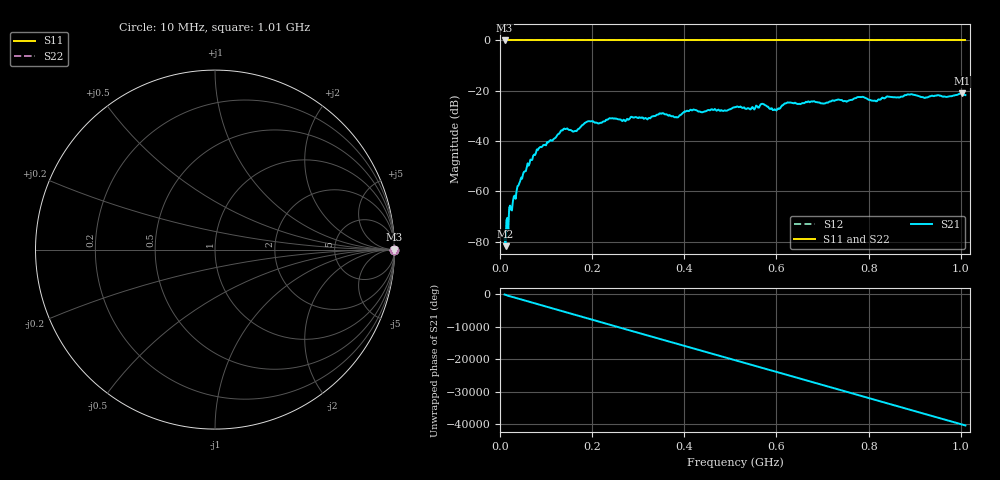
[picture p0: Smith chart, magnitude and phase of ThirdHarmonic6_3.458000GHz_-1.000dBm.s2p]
! 8/17/2025 11:11:26 AM
! C:\ANRITSUVNA\TEMP\TEMP.S2P
! CHANNEL.1
! TR.MEASUREMENT
! RAW.DATA
! RF.CORRECTION.OFF
! AVERAGING.OFF
! IF.BANDWIDTH: 5KHZ
! SWEEPTYPE:  FREQ.SWEEP(Linear)
! Reference Plane Port Info
! PORT:  PORT1  PORT2
! DISTANCE:  0  m  0  m
! TIME:  0  s  0  s
! PHASE.OFFSET:  0  deg.  0  deg.
! LOSS:  0  dB  0  dB
! REF.LOSS:  0  dB  0  dB
! REF.FREQ:  0  Hz  0  Hz
! Power Info
! POWER:  -20  dBm  -20  dBm
! EFF.POWER:  -20  dBm  -20  dBm
! SOURCE.ATTEN:  0  dB  0  dB
! TEST.ATTEN:  0  dB  0  dB
# GHZ S RI R 50.0
! FREQ.GHZ  S11RE  S11IM  S21RE  S21IM  S12RE  S12IM  S22RE  S22IM
!; PortSelection: Port_12
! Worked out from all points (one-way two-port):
!   501 points, 10 MHz to 1.01 GHz, reference 50 ohm
!   highest |S21| = -21.03 dB at 1.002 GHz (marker M1); lowest = -81.8 dB at 12 MHz (marker M2)
!   lowest |S11| = 0.0 dB at 10 MHz (marker M3)
!   |S11| at or under -10 dB: nowhere
!   |S22| runs from 0.0 to 0.0 dB; largest |S21 - S12| = 1.1
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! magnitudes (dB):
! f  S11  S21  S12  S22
! 10 MHz  0.0  -78.6  0.0  0.0
! 12 MHz  0.0  -81.8  0.0  0.0
! 14 MHz  0.0  -71.5  0.0  0.0
! 18 MHz  0.0  -75.3  0.0  0.0
! 42 MHz  0.0  -56.8  0.0  0.0
! 82 MHz  0.0  -43.6  0.0  0.0
! 136 MHz  0.0  -35.8  0.0  0.0
! 162 MHz  0.0  -36.1  0.0  0.0
! 178 MHz  0.0  -33.7  0.0  0.0
! 344 MHz  0.0  -29.4  0.0  0.0
! 382 MHz  0.0  -30.5  0.0  0.0
! 416 MHz  0.0  -27.8  0.0  0.0
! 510 MHz  0.0  -26.5  0.0  0.0
! 570 MHz  0.0  -25.2  0.0  0.0
! 596 MHz  0.0  -27.4  0.0  0.0
! 622 MHz  0.0  -24.9  0.0  0.0
! 678 MHz  0.0  -24.3  0.0  0.0
! 784 MHz  0.0  -22.5  0.0  0.0
! 814 MHz  0.0  -23.9  0.0  0.0
! 844 MHz  0.0  -22.4  0.0  0.0
! 1.002 GHz  0.0  -21.0  0.0  0.0
! 1.01 GHz  0.0  -21.7  0.0  0.0
